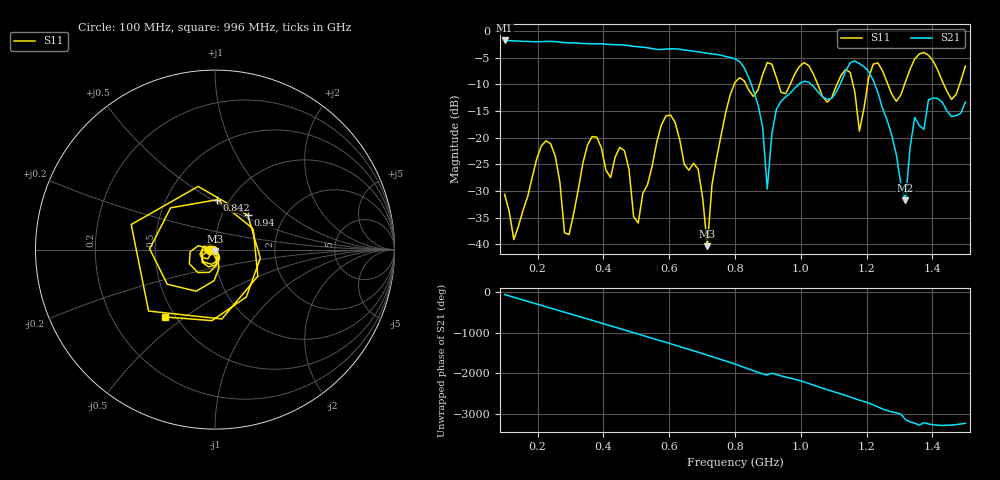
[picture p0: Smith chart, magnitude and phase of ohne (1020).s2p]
! NanoVNA-App
! Date: 2025-09-25 14:28:44
! Start: 100MHz Stop: 1,5GHz Points: 101
! S-Parameter data: F S11 S21 S12 S22
# Hz S RI R 50
!  Frequency  S11_Real  S11_Imag  S21_Real  S21_Imag  S12_Real  S12_Imag  S22_Real  S22_Imag
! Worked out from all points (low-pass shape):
!   101 points, 100 MHz to 1.5 GHz, reference 50 ohm
!   highest |S21| = -1.79 dB at 100 MHz (marker M1); lowest = -31.8 dB at 1.318 GHz (marker M2)
!   |S21| within 3 dB of the highest: start of sweep to 771.3 MHz
!   lowest |S11| = -40.4 dB at 716 MHz (marker M3), VSWR 1.02, Z = 49.8 - j0.943 ohm
!   |S11| at or under -10 dB: start of sweep to 797.9 MHz; 833 MHz to 875.1 MHz (42.07 MHz wide, 4.93 % of centre); 1.051 GHz to 1.11 GHz (58.77 MHz wide, 5.44 % of centre) (the widest 3 of 7)
!   S12 and S22 are empty: the file has one direction only
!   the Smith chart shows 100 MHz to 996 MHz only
!   S11 on the Smith chart (normalised r, x): 100 MHz: 0.94, -0.01; 842 MHz: 0.88, +0.53; 940 MHz: 1.32, +0.54; 996 MHz: 0.44, -0.42
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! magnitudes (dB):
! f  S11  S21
! 100 MHz  -30.6  -1.8
! 128 MHz  -39.1  -1.9
! 226 MHz  -20.6  -2.0
! 296 MHz  -38.2  -2.2
! 338 MHz  -24.7  -2.4
! 464 MHz  -22.5  -2.7
! 506 MHz  -36.0  -3.0
! 576 MHz  -17.7  -3.5
! 688 MHz  -25.9  -3.9
! 716 MHz  -40.4  -4.2
! 800 MHz  -9.7  -5.3
! 842 MHz  -11.1  -8.8
! 898 MHz  -5.9  -29.7
! 940 MHz  -11.5  -13.2
! 996 MHz  -6.6  -9.9
! 1.038 GHz  -8.1  -10.4
! 1.178 GHz  -18.8  -6.1
! 1.22 GHz  -6.2  -9.3
! 1.276 GHz  -11.8  -19.5
! 1.318 GHz  -9.5  -31.8
! 1.346 GHz  -5.3  -16.2
! 1.5 GHz  -6.6  -13.3
